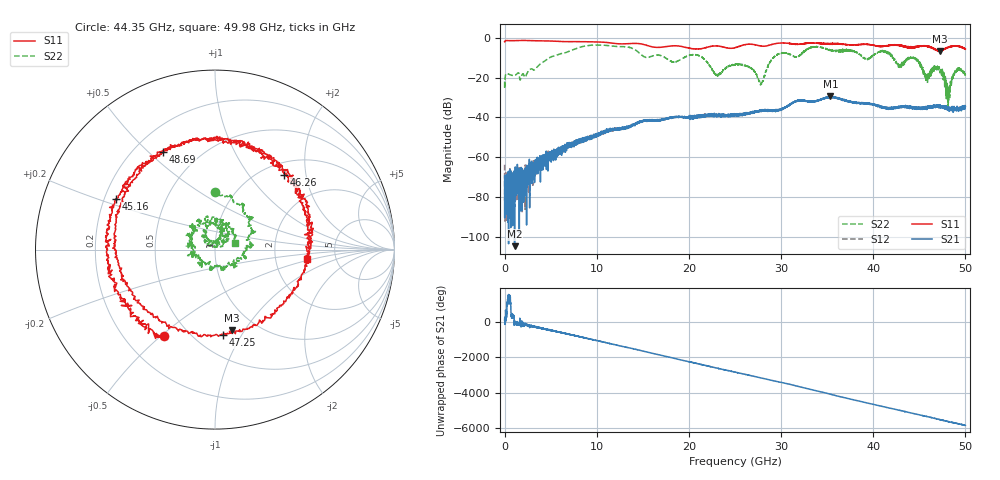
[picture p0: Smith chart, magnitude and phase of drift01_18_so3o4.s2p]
!Created with skrf (http://scikit-rf.org).
# Hz S RI R 50.0
!freq ReS11 ImS11 ReS21 ImS21 ReS12 ImS12 ReS22 ImS22
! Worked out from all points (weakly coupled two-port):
!   10001 points, 300 kHz to 50 GHz, reference 50 ohm
!   highest |S21| = -29.40 dB at 35.36 GHz (marker M1); lowest = -104.8 dB at 1.08 GHz (marker M2)
!   lowest |S11| = -6.8 dB at 47.2 GHz (marker M3), VSWR 2.70, Z = 38.6 - j44 ohm
!   |S11| at or under -10 dB: nowhere
!   |S22| runs from -36.9 to -3.6 dB; largest |S21 - S12| = 0.004
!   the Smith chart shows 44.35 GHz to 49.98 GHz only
!   S11 on the Smith chart (normalised r, x): 44.35 GHz: 0.37, -0.51; 45.16 GHz: 0.25, +0.23; 46.26 GHz: 1.23, +1.52; 47.25 GHz: 0.68, -0.84; 48.69 GHz: 0.32, +0.56; 49.98 GHz: 3.07, -0.44
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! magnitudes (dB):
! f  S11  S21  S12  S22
! 300 kHz  -2.1  -69.5  -63.9  -22.0
! 265.3 MHz  -1.4  -81.3  -72.7  -18.0
! 1.08 GHz  -1.5  -104.8  -79.5  -18.9
! 8.335 GHz  -2.0  -51.1  -52.0  -4.5
! 16.67 GHz  -4.8  -41.6  -41.7  -8.7
! 20.97 GHz  -5.7  -40.4  -39.7  -8.8
! 23.07 GHz  -4.1  -39.1  -38.9  -18.5
! 25 GHz  -5.0  -38.8  -39.1  -13.5
! 27.84 GHz  -4.2  -36.6  -37.1  -22.8
! 29.48 GHz  -2.9  -36.3  -36.7  -8.8
! 33.34 GHz  -2.6  -32.1  -32.1  -4.8
! 35.36 GHz  -3.0  -29.4  -29.8  -6.2
! 41.67 GHz  -3.9  -35.7  -35.5  -7.7
! 44.35 GHz  -5.1  -35.4  -35.2  -9.9
! 45.16 GHz  -4.2  -35.3  -35.4  -13.8
! 46.26 GHz  -4.9  -34.2  -34.3  -16.5
! 47.2 GHz  -6.8  -35.0  -34.8  -15.8
! 47.25 GHz  -6.4  -34.6  -34.6  -17.2
! 48.12 GHz  -4.9  -35.8  -35.4  -36.4
! 48.69 GHz  -4.2  -35.9  -36.2  -18.8
! 49.98 GHz  -5.7  -35.6  -34.5  -18.5
! 50 GHz  -5.6  -34.6  -34.7  -18.6
